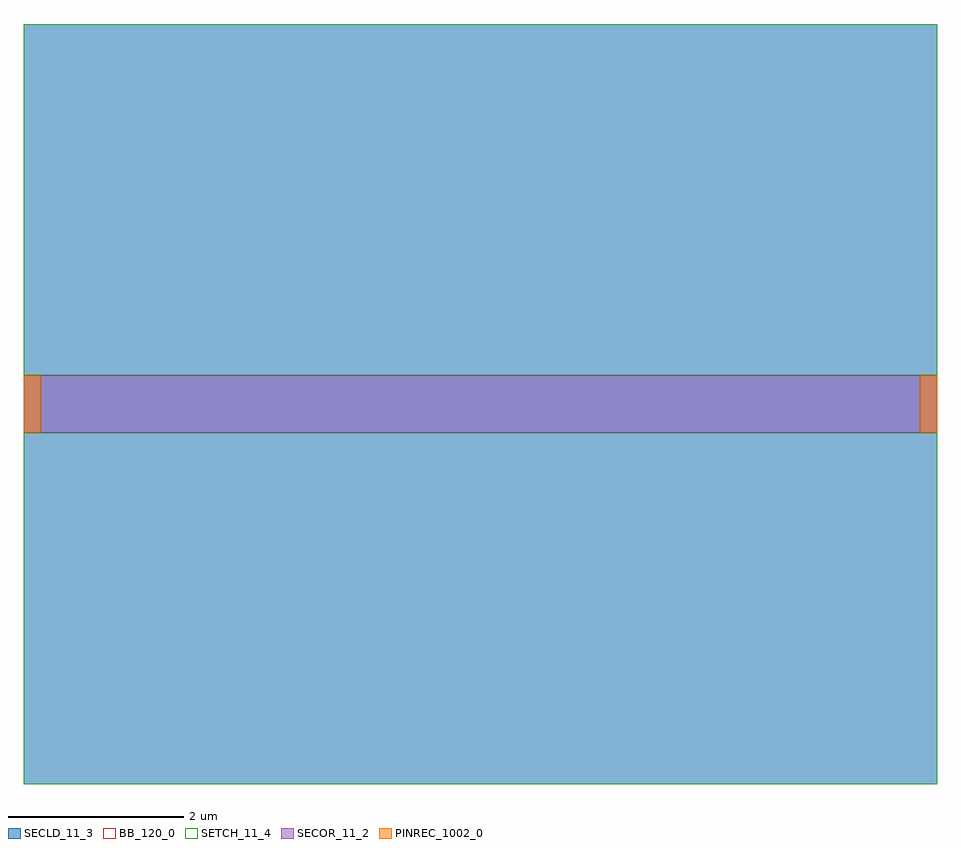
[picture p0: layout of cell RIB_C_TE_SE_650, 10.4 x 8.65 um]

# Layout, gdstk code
import gdstk
lib = gdstk.Library(unit=1e-6, precision=1e-09)
def R(c, l, rs):  # rectangles x0, y0, x1, y1
    for r in rs: c.add(gdstk.rectangle(r[:2], r[2:], *l))
SECOR_11_2 = (11, 2)
SECLD_11_3 = (11, 3)
SETCH_11_4 = (11, 4)
BB_120_0 = (120, 0)
PINREC_1002_0 = (1002, 0)

rib_c_te_se_650 = lib.new_cell('RIB_C_TE_SE_650')
R(rib_c_te_se_650, SECOR_11_2, [(-0.2,-0.325,0,0.325), (0,-0.325,10,0.325), (10,-0.325,10.2,0.325)])
R(rib_c_te_se_650, SECLD_11_3, [(-0.2,-4.325,0,4.325), (0,-4.325,10,4.325), (10,-4.325,10.2,4.325)])
R(rib_c_te_se_650, SETCH_11_4, [(-0.2,-4.325,10.2,-0.325), (-0.2,0.325,10.2,4.325)])
R(rib_c_te_se_650, BB_120_0, [(-0.2,-4.325,10.2,4.325)])
R(rib_c_te_se_650, PINREC_1002_0, [(-0.2,-0.325,0,0.325), (10,-0.325,10.2,0.325)])

lib.write_gds('RIB_C_TE_SE_650.gds')
